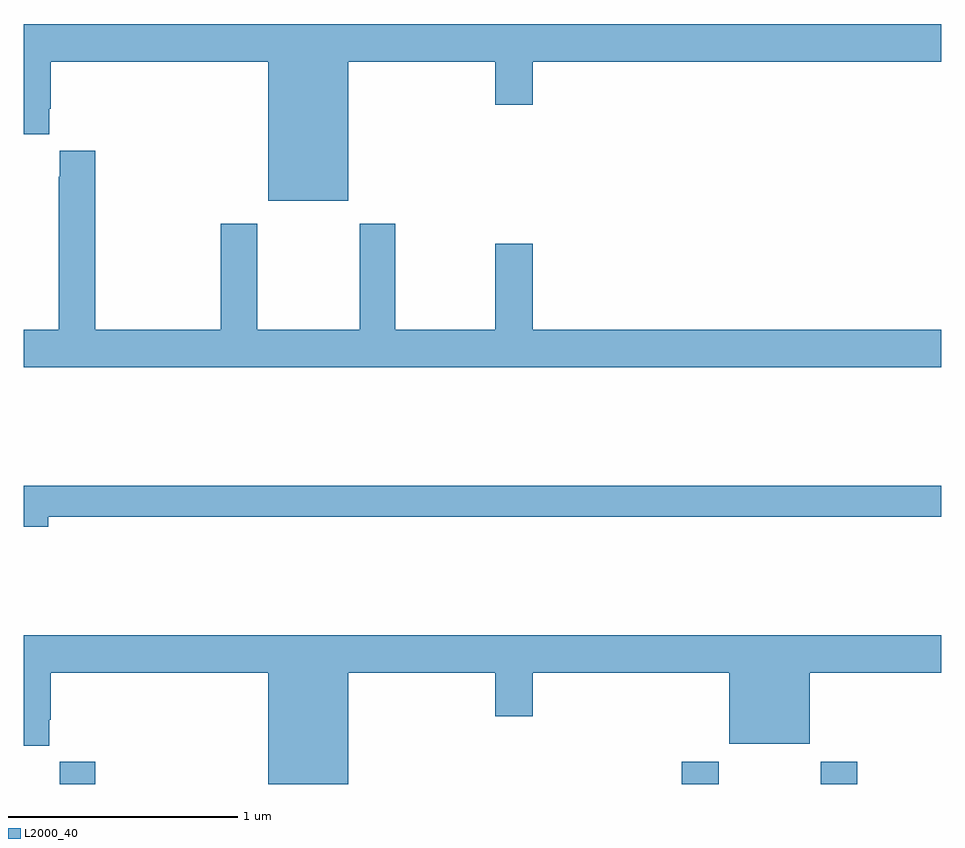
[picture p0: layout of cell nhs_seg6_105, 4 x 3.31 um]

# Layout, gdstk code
import gdstk
lib = gdstk.Library(unit=1e-6, precision=1e-09)
def R(c, l, rs):  # rectangles x0, y0, x1, y1
    for r in rs: c.add(gdstk.rectangle(r[:2], r[2:], *l))
def P(c, l, *ps):  # polygons
    for p in ps: c.add(gdstk.Polygon(p, *l))
L2000_40 = (2000, 40)

nhs_seg6_105 = lib.new_cell('nhs_seg6_105')
R(nhs_seg6_105, L2000_40, [(115.157,965.5,115.313,965.596), (117.869,965.5,118.029,965.596), (118.474,965.5,118.634,965.596)])
P(nhs_seg6_105, L2000_40, [(116.416,968.648),(117.056,968.648),(117.056,968.46),(117.22,968.46),(117.22,968.648),(119,968.648),(119,968.812),(115,968.812),(115,968.331),(115.111,968.331),(115.111,968.443),(115.118,968.443),(115.118,968.648),(116.066,968.648),(116.066,968.042),(116.416,968.042)],
  [(119,967.48),(117.22,967.48),(117.22,967.855),(117.056,967.855),(117.056,967.48),(116.619,967.48),(116.619,967.942),(116.464,967.942),(116.464,967.48),(116.019,967.48),(116.019,967.942),(115.859,967.942),(115.859,967.48),(115.313,967.48),(115.313,968.26),(115.157,968.26),(115.157,968.147),(115.153,968.147),(115.153,967.48),(115,967.48),(115,967.316),(119,967.316)],
  [(115.108,966.664),(119,966.664),(119,966.8),(115,966.8),(115,966.622),(115.108,966.622)],
  [(116.416,965.984),(117.056,965.984),(117.056,965.796),(117.22,965.796),(117.22,965.984),(118.076,965.984),(118.076,965.675),(118.426,965.675),(118.426,965.984),(119,965.984),(119,966.148),(115,966.148),(115,965.667),(115.111,965.667),(115.111,965.779),(115.118,965.779),(115.118,965.984),(116.066,965.984),(116.066,965.5),(116.416,965.5)])

lib.write_gds('nhs_seg6_105.gds')
